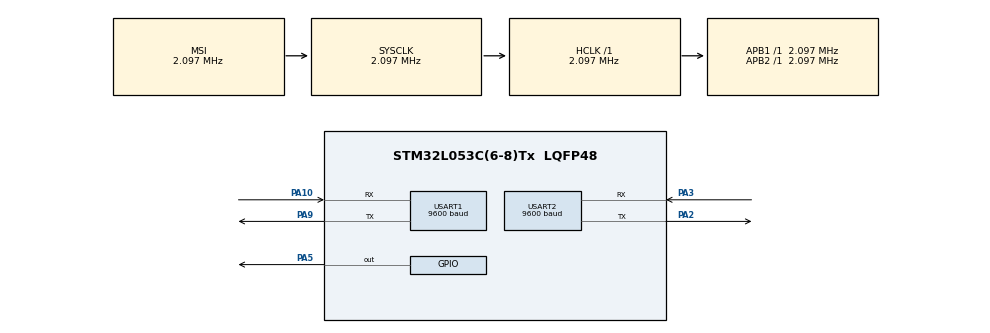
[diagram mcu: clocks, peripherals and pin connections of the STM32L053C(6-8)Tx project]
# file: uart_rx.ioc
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Mcu.Family=STM32L0
Mcu.Name=STM32L053C(6-8)Tx
Mcu.Package=LQFP48
NVIC.USART1_IRQn=true\:0\:0\:false\:false\:true\:true
NVIC.USART2_IRQn=true\:0\:0\:false\:false\:true\:true
PA10.Mode=Asynchronous
PA10.Signal=USART1_RX
PA13.Mode=Serial_Wire
PA13.Signal=SYS_SWDIO
PA14.Mode=Serial_Wire
PA14.Signal=SYS_SWCLK
PA2.Mode=Asynchronous
PA2.Signal=USART2_TX
PA3.Mode=Asynchronous
PA3.Signal=USART2_RX
PA5.Signal=GPIO_Output
PA9.Mode=Asynchronous
PA9.Signal=USART1_TX
ProjectManager.HeapSize=0x200
ProjectManager.StackSize=0x400
ProjectManager.TargetToolchain=SW4STM32
RCC.AHBFreq_Value=2097000
RCC.APB1Freq_Value=2097000
RCC.APB1TimFreq_Value=2097000
RCC.APB2Freq_Value=2097000
RCC.APB2TimFreq_Value=2097000
RCC.HSE_VALUE=8000000
RCC.HSI16_VALUE=16000000
RCC.HSI48_VALUE=48000000
RCC.HSI_VALUE=16000000
RCC.LSE_VALUE=32768
RCC.MSI_VALUE=2097000
RCC.SYSCLKFreq_VALUE=2097000
RCC.VCOOutputFreq_Value=48000000
USART1.BaudRate=9600
USART1.VirtualMode-Asynchronous=VM_ASYNC
USART2.BaudRate=9600
USART2.OverrunDisableParam=ADVFEATURE_OVERRUN_ENABLE
USART2.VirtualMode-Asynchronous=VM_ASYNC
board=custom

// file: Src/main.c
/**
  ******************************************************************************
  * @file           : main.c
  * @brief          : Main program body
  ******************************************************************************
  ** This notice applies to any and all portions of this file
  * that are not between comment pairs USER CODE BEGIN and
  * USER CODE END. Other portions of this file, whether
  * inserted by the user or by software development tools
  * are owned by their respective copyright owners.
  *
  * COPYRIGHT(c) 2018 STMicroelectronics
  *
  * Redistribution and use in source and binary forms, with or without modification,
  * are permitted provided that the following conditions are met:
  *   1. Redistributions of source code must retain the above copyright notice,
  *      this list of conditions and the following disclaimer.
  *   2. Redistributions in binary form must reproduce the above copyright notice,
  *      this list of conditions and the following disclaimer in the documentation
  *      and/or other materials provided with the distribution.
  *   3. Neither the name of STMicroelectronics nor the names of its contributors
  *      may be used to endorse or promote products derived from this software
  *      without specific prior written permission.
  *
  * THIS SOFTWARE IS PROVIDED BY THE COPYRIGHT HOLDERS AND CONTRIBUTORS "AS IS"
  * AND ANY EXPRESS OR IMPLIED WARRANTIES, INCLUDING, BUT NOT LIMITED TO, THE
  * IMPLIED WARRANTIES OF MERCHANTABILITY AND FITNESS FOR A PARTICULAR PURPOSE ARE
  * DISCLAIMED. IN NO EVENT SHALL THE COPYRIGHT HOLDER OR CONTRIBUTORS BE LIABLE
  * FOR ANY DIRECT, INDIRECT, INCIDENTAL, SPECIAL, EXEMPLARY, OR CONSEQUENTIAL
  * DAMAGES (INCLUDING, BUT NOT LIMITED TO, PROCUREMENT OF SUBSTITUTE GOODS OR
  * SERVICES; LOSS OF USE, DATA, OR PROFITS; OR BUSINESS INTERRUPTION) HOWEVER
  * CAUSED AND ON ANY THEORY OF LIABILITY, WHETHER IN CONTRACT, STRICT LIABILITY,
  * OR TORT (INCLUDING NEGLIGENCE OR OTHERWISE) ARISING IN ANY WAY OUT OF THE USE
  * OF THIS SOFTWARE, EVEN IF ADVISED OF THE POSSIBILITY OF SUCH DAMAGE.
  *
  ******************************************************************************
  */
#include "main.h"
#include "stm32l0xx_hal.h"
#include "usart.h"
#include "gpio.h"

/* USER CODE BEGIN Includes */
#include "string.h"
/* USER CODE END Includes */

/* USER CODE BEGIN PV */
/* Private variables ---------------------------------------------------------*/

#define RXBUFFERSIZE 1
#define TXBUFFERSIZE 32
char aRxBuffer[RXBUFFERSIZE];
volatile uint8_t txBuffer[TXBUFFERSIZE];
volatile uint8_t txIndex = 0;
__IO ITStatus txReady = RESET;
__IO ITStatus rxStatus = RESET;

/* USER CODE END PV */

void SystemClock_Config(void);

/* USER CODE BEGIN PFP */
/* Private function prototypes -----------------------------------------------*/

/* USER CODE END PFP */

int main(void)
{

  /* MCU Configuration----------------------------------------------------------*/

  /* Reset of all peripherals, Initializes the Flash interface and the Systick. */
  HAL_Init();

  /* Configure the system clock */
  SystemClock_Config();

  /* Initialize all configured peripherals */
  MX_GPIO_Init();
  MX_USART1_UART_Init();
  MX_USART2_UART_Init();
  /* USER CODE BEGIN 2 */

  HAL_GPIO_WritePin(GPIOA, GPIO_PIN_5, GPIO_PIN_SET);

  /* USER CODE END 2 */

  /* Infinite loop */
  while (1)
  {

  /* USER CODE BEGIN 3 */

	  // RX buffer has been processed, listen again for more.
	  if (rxStatus == RESET) {
		  rxStatus = SET;
		  // Non blocking.
		  HAL_UART_Receive_IT(&huart1, (uint8_t *)aRxBuffer, RXBUFFERSIZE);
	  }

	  // Wait for the tx buffer to be ready.
	  if (txReady == SET) {
		  // Send the prepared txBuffer (non blocking).
	  	  HAL_UART_Transmit_IT(&huart2, (uint8_t *)txBuffer, txIndex);
	  	  // Reset the send buffer length.
	  	  txIndex = 0;
	  	  HAL_GPIO_TogglePin(GPIOA, GPIO_PIN_5);
	  	  // Ready to fill the tx buffer again.
	  	  txReady = RESET;
	  }

  }

  /* USER CODE END 3 */

}

void SystemClock_Config(void)
{

  RCC_OscInitTypeDef RCC_OscInitStruct;
  RCC_ClkInitTypeDef RCC_ClkInitStruct;
  RCC_PeriphCLKInitTypeDef PeriphClkInit;

    /**Configure the main internal regulator output voltage
    */
  __HAL_PWR_VOLTAGESCALING_CONFIG(PWR_REGULATOR_VOLTAGE_SCALE1);

    /**Initializes the CPU, AHB and APB busses clocks
    */
  RCC_OscInitStruct.OscillatorType = RCC_OSCILLATORTYPE_MSI;
  RCC_OscInitStruct.MSIState = RCC_MSI_ON;
  RCC_OscInitStruct.MSICalibrationValue = 0;
  RCC_OscInitStruct.MSIClockRange = RCC_MSIRANGE_5;
  RCC_OscInitStruct.PLL.PLLState = RCC_PLL_NONE;
  if (HAL_RCC_OscConfig(&RCC_OscInitStruct) != HAL_OK)
  {
    _Error_Handler(__FILE__, __LINE__);
  }

    /**Initializes the CPU, AHB and APB busses clocks
    */
  RCC_ClkInitStruct.ClockType = RCC_CLOCKTYPE_HCLK|RCC_CLOCKTYPE_SYSCLK
                              |RCC_CLOCKTYPE_PCLK1|RCC_CLOCKTYPE_PCLK2;
  RCC_ClkInitStruct.SYSCLKSource = RCC_SYSCLKSOURCE_MSI;
  RCC_ClkInitStruct.AHBCLKDivider = RCC_SYSCLK_DIV1;
  RCC_ClkInitStruct.APB1CLKDivider = RCC_HCLK_DIV1;
  RCC_ClkInitStruct.APB2CLKDivider = RCC_HCLK_DIV1;

  if (HAL_RCC_ClockConfig(&RCC_ClkInitStruct, FLASH_LATENCY_0) != HAL_OK)
  {
    _Error_Handler(__FILE__, __LINE__);
  }

  PeriphClkInit.PeriphClockSelection = RCC_PERIPHCLK_USART1|RCC_PERIPHCLK_USART2;
  PeriphClkInit.Usart1ClockSelection = RCC_USART1CLKSOURCE_PCLK2;
  PeriphClkInit.Usart2ClockSelection = RCC_USART2CLKSOURCE_PCLK1;
  if (HAL_RCCEx_PeriphCLKConfig(&PeriphClkInit) != HAL_OK)
  {
    _Error_Handler(__FILE__, __LINE__);
  }

    /**Configure the Systick interrupt time
    */
  HAL_SYSTICK_Config(HAL_RCC_GetHCLKFreq()/1000);

    /**Configure the Systick
    */
  HAL_SYSTICK_CLKSourceConfig(SYSTICK_CLKSOURCE_HCLK);

  /* SysTick_IRQn interrupt configuration */
  HAL_NVIC_SetPriority(SysTick_IRQn, 0, 0);
}

/* USER CODE BEGIN 4 */

void HAL_UART_RxCpltCallback(UART_HandleTypeDef *huart)
{
	uint8_t c = aRxBuffer[0];

	// Prevent buffer overflow.
	if (txIndex >= TXBUFFERSIZE) {
		txIndex = 0;
	}

	// Add the character to the tx buffer.
	txBuffer[txIndex++] = c;

	// Keep adding to the tx buffer until the new line character "\n".
	if (c == 0x0A) {
		// Buffer ready to send.
		txReady = SET;
	}
	rxStatus = RESET;
}

void HAL_UART_TxCpltCallback(UART_HandleTypeDef *huart)
{

}

/* USER CODE END 4 */

void _Error_Handler(char *file, int line)
{
  /* USER CODE BEGIN Error_Handler_Debug */
  /* User can add his own implementation to report the HAL error return state */
  while(1)
  {
	  HAL_GPIO_TogglePin(GPIOA, GPIO_PIN_5);
	  HAL_Delay(200);
  }
  /* USER CODE END Error_Handler_Debug */
}

/************************ (C) COPYRIGHT STMicroelectronics *****END OF FILE****/
